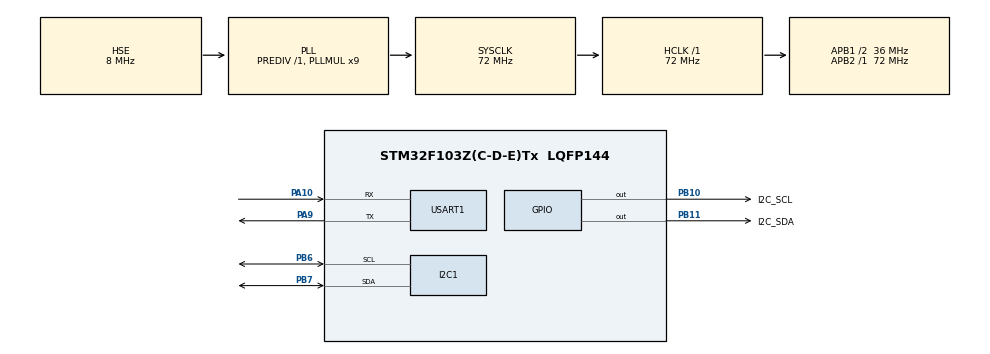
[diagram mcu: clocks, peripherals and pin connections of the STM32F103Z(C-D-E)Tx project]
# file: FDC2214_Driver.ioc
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I2C1.I2C_Mode=I2C_Fast
Mcu.Family=STM32F1
Mcu.Name=STM32F103Z(C-D-E)Tx
Mcu.Package=LQFP144
NVIC.PriorityGroup=NVIC_PRIORITYGROUP_2
NVIC.TIM2_IRQn=true\:0\:0\:false\:false\:true\:true
OSC_IN.Mode=HSE-External-Oscillator
OSC_IN.Signal=RCC_OSC_IN
OSC_OUT.Mode=HSE-External-Oscillator
OSC_OUT.Signal=RCC_OSC_OUT
PA10.Mode=Asynchronous
PA10.Signal=USART1_RX
PA13.Mode=JTAG_4_pins
PA13.Signal=SYS_JTMS-SWDIO
PA14.Mode=JTAG_4_pins
PA14.Signal=SYS_JTCK-SWCLK
PA15.Mode=JTAG_4_pins
PA15.Signal=SYS_JTDI
PA9.Mode=Asynchronous
PA9.Signal=USART1_TX
PB10.GPIO_Label=I2C_SCL
PB10.GPIO_ModeDefaultOutputPP=GPIO_MODE_OUTPUT_PP
PB10.GPIO_Speed=GPIO_SPEED_FREQ_HIGH
PB10.Signal=GPIO_Output
PB11.GPIO_Label=I2C_SDA
PB11.GPIO_ModeDefaultOutputPP=GPIO_MODE_OUTPUT_PP
PB11.GPIO_Speed=GPIO_SPEED_FREQ_HIGH
PB11.Signal=GPIO_Output
PB3.Mode=JTAG_4_pins
PB3.Signal=SYS_JTDO-TRACESWO
PB6.Mode=I2C
PB6.Signal=I2C1_SCL
PB7.Mode=I2C
PB7.Signal=I2C1_SDA
ProjectManager.HeapSize=0x200
ProjectManager.StackSize=0x400
ProjectManager.TargetToolchain=MDK-ARM V5
RCC.AHBFreq_Value=72000000
RCC.APB1CLKDivider=RCC_HCLK_DIV2
RCC.APB1Freq_Value=36000000
RCC.APB1TimFreq_Value=72000000
RCC.APB2Freq_Value=72000000
RCC.APB2TimFreq_Value=72000000
RCC.HCLKFreq_Value=72000000
RCC.PLLMUL=RCC_PLL_MUL9
RCC.PLLSourceVirtual=RCC_PLLSOURCE_HSE
RCC.SYSCLKFreq_VALUE=72000000
RCC.SYSCLKSource=RCC_SYSCLKSOURCE_PLLCLK
RCC.USBFreq_Value=72000000
TIM2.Period=100
TIM2.Prescaler=7199
USART1.VirtualMode=VM_ASYNC
VP_TIM2_VS_ClockSourceINT.Mode=Internal
board=custom

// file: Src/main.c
/**
  ******************************************************************************
  * @file           : main.c
  * @brief          : Main program body
  ******************************************************************************
  ** This notice applies to any and all portions of this file
  * that are not between comment pairs USER CODE BEGIN and
  * USER CODE END. Other portions of this file, whether
  * inserted by the user or by software development tools
  * are owned by their respective copyright owners.
  *
  * COPYRIGHT(c) 2018 STMicroelectronics
  *
  * Redistribution and use in source and binary forms, with or without modification,
  * are permitted provided that the following conditions are met:
  *   1. Redistributions of source code must retain the above copyright notice,
  *      this list of conditions and the following disclaimer.
  *   2. Redistributions in binary form must reproduce the above copyright notice,
  *      this list of conditions and the following disclaimer in the documentation
  *      and/or other materials provided with the distribution.
  *   3. Neither the name of STMicroelectronics nor the names of its contributors
  *      may be used to endorse or promote products derived from this software
  *      without specific prior written permission.
  *
  * THIS SOFTWARE IS PROVIDED BY THE COPYRIGHT HOLDERS AND CONTRIBUTORS "AS IS"
  * AND ANY EXPRESS OR IMPLIED WARRANTIES, INCLUDING, BUT NOT LIMITED TO, THE
  * IMPLIED WARRANTIES OF MERCHANTABILITY AND FITNESS FOR A PARTICULAR PURPOSE ARE
  * DISCLAIMED. IN NO EVENT SHALL THE COPYRIGHT HOLDER OR CONTRIBUTORS BE LIABLE
  * FOR ANY DIRECT, INDIRECT, INCIDENTAL, SPECIAL, EXEMPLARY, OR CONSEQUENTIAL
  * DAMAGES (INCLUDING, BUT NOT LIMITED TO, PROCUREMENT OF SUBSTITUTE GOODS OR
  * SERVICES; LOSS OF USE, DATA, OR PROFITS; OR BUSINESS INTERRUPTION) HOWEVER
  * CAUSED AND ON ANY THEORY OF LIABILITY, WHETHER IN CONTRACT, STRICT LIABILITY,
  * OR TORT (INCLUDING NEGLIGENCE OR OTHERWISE) ARISING IN ANY WAY OUT OF THE USE
  * OF THIS SOFTWARE, EVEN IF ADVISED OF THE POSSIBILITY OF SUCH DAMAGE.
  *
  ******************************************************************************
  */
#include "main.h"
#include "stm32f1xx_hal.h"

/* USER CODE BEGIN Includes */
 /*!
  * @file       main.c
  * @brief      FDC2214测试代码 STM32 软件IIC
  * @author     数据羊电�?
  * @version    v1.0
  * @date       2018-07-08
  * @note       代码严禁转卖！去年前年都有发现转卖本店代码和设计的情况，
  *             做点兼职不容易，望大家多多支持！
  *
					+--------------------------------------------+
					|                                            |
					|                                            |
					|         SCL +------------------> PB10      |
					|                                            |
					| FDC2214                              STM32 |
					|         SDA +------------------> PB11      |
					|                                            |
					|                                            |
					|         3.3 +------------------> 3.3       |
					|                                            |
					|                                            |
					|          SD +------------------> GND       |
					|																						 |
					|																					   |
					|         GND +------------------> GND       |
					|                                            |
					+--------------------------------------------+
					程序基于
					硬件	STM32F103ZET6
					软件  HAL库，STM32CubeMX生成
					使用软件IIC，FDC2214文件有详细注释�??

					自己焊的芯片如果读不出数据：
					请检查：
					1、SCL SDA是否接反
					2、SD是否接地
					3、芯片地�?是否选择�?0x2A（根据硬件短接�?�择�?
					4、检查晶振是否起振，示波器观察是否有40m Hz稳定正弦信号

					其他问题可以在群内留�?.
  */
/*
  FDC2214 STM32驱动例程
  软件IIC使用 P10 -> SCL  PB11-> SDA   寄存器操作，可修改IO�?

*/

#include "FDC2214.h"
#include "MyIIC.h"
#include "string.h"
#if 1
#pragma import(__use_no_semihosting)
//Standard library required support function
struct __FILE
{
	int handle;
};

FILE __stdout;
// define _sys_exit()
void _sys_exit(int x)
{
	x = x;
}
//redifine fputc()
int fputc(int ch, FILE *f)
{
	while((USART1->SR&0X40)==0);//Loop send
	USART1->DR = (unsigned char ) ch;
	return ch;
}
#endif
/* USER CODE END Includes */

I2C_HandleTypeDef hi2c1;

TIM_HandleTypeDef htim2;

UART_HandleTypeDef huart1;

/* USER CODE BEGIN PV */
/* Private variables ---------------------------------------------------------*/

/* USER CODE END PV */

void SystemClock_Config(void);
static void MX_GPIO_Init(void);
static void MX_USART1_UART_Init(void);
static void MX_I2C1_Init(void);
static void MX_TIM2_Init(void);

/* USER CODE BEGIN PFP */
/* Private function prototypes -----------------------------------------------*/
unsigned char string[] = "OK";
unsigned char buf[3];
uint32_t date0, date1, date2, date3;
uint16_t deviceID1 = 0;
static double KalmanFilter(const double ResrcData,double ProcessNiose_Q,double MeasureNoise_R);
double CH1_Value = 0;
/* USER CODE END PFP */

int main(void)
{
  /* USER CODE BEGIN 1 */
	uint16_t data;

  /* USER CODE END 1 */

  /* MCU Configuration----------------------------------------------------------*/

  /* Reset of all peripherals, Initializes the Flash interface and the Systick. */
  HAL_Init();

  /* Configure the system clock */
  SystemClock_Config();

  /* Initialize all configured peripherals */
  MX_GPIO_Init();
  MX_USART1_UART_Init();
  MX_I2C1_Init();
  MX_TIM2_Init();
  /* USER CODE BEGIN 2 */
	HAL_TIM_Base_Start_IT(&htim2);
	FDC2214_Init();

  /* USER CODE END 2 */

  /* Infinite loop */
  while (1)
  {

  /* USER CODE BEGIN 3 */
			FDC2214_GetChannelData(FDC2214_Channel_0, &date0);   //获取各个通道数据
			FDC2214_GetChannelData(FDC2214_Channel_1, &date1);
			FDC2214_GetChannelData(FDC2214_Channel_2, &date2);
			FDC2214_GetChannelData(FDC2214_Channel_3, &date3);

			HAL_Delay(10);

  }
  /* USER CODE END 3 */

}

void SystemClock_Config(void)
{

  RCC_OscInitTypeDef RCC_OscInitStruct;
  RCC_ClkInitTypeDef RCC_ClkInitStruct;

    /**Initializes the CPU, AHB and APB busses clocks
    */
  RCC_OscInitStruct.OscillatorType = RCC_OSCILLATORTYPE_HSE;
  RCC_OscInitStruct.HSEState = RCC_HSE_ON;
  RCC_OscInitStruct.HSEPredivValue = RCC_HSE_PREDIV_DIV1;
  RCC_OscInitStruct.HSIState = RCC_HSI_ON;
  RCC_OscInitStruct.PLL.PLLState = RCC_PLL_ON;
  RCC_OscInitStruct.PLL.PLLSource = RCC_PLLSOURCE_HSE;
  RCC_OscInitStruct.PLL.PLLMUL = RCC_PLL_MUL9;
  if (HAL_RCC_OscConfig(&RCC_OscInitStruct) != HAL_OK)
  {
    _Error_Handler(__FILE__, __LINE__);
  }

    /**Initializes the CPU, AHB and APB busses clocks
    */
  RCC_ClkInitStruct.ClockType = RCC_CLOCKTYPE_HCLK|RCC_CLOCKTYPE_SYSCLK
                              |RCC_CLOCKTYPE_PCLK1|RCC_CLOCKTYPE_PCLK2;
  RCC_ClkInitStruct.SYSCLKSource = RCC_SYSCLKSOURCE_PLLCLK;
  RCC_ClkInitStruct.AHBCLKDivider = RCC_SYSCLK_DIV1;
  RCC_ClkInitStruct.APB1CLKDivider = RCC_HCLK_DIV2;
  RCC_ClkInitStruct.APB2CLKDivider = RCC_HCLK_DIV1;

  if (HAL_RCC_ClockConfig(&RCC_ClkInitStruct, FLASH_LATENCY_2) != HAL_OK)
  {
    _Error_Handler(__FILE__, __LINE__);
  }

    /**Configure the Systick interrupt time
    */
  HAL_SYSTICK_Config(HAL_RCC_GetHCLKFreq()/1000);

    /**Configure the Systick
    */
  HAL_SYSTICK_CLKSourceConfig(SYSTICK_CLKSOURCE_HCLK);

  /* SysTick_IRQn interrupt configuration */
  HAL_NVIC_SetPriority(SysTick_IRQn, 0, 0);
}

/* I2C1 init function */
static void MX_I2C1_Init(void)
{

  hi2c1.Instance = I2C1;
  hi2c1.Init.ClockSpeed = 400000;
  hi2c1.Init.DutyCycle = I2C_DUTYCYCLE_2;
  hi2c1.Init.OwnAddress1 = 0;
  hi2c1.Init.AddressingMode = I2C_ADDRESSINGMODE_7BIT;
  hi2c1.Init.DualAddressMode = I2C_DUALADDRESS_DISABLE;
  hi2c1.Init.OwnAddress2 = 0;
  hi2c1.Init.GeneralCallMode = I2C_GENERALCALL_DISABLE;
  hi2c1.Init.NoStretchMode = I2C_NOSTRETCH_DISABLE;
  if (HAL_I2C_Init(&hi2c1) != HAL_OK)
  {
    _Error_Handler(__FILE__, __LINE__);
  }

}

/* TIM2 init function */
static void MX_TIM2_Init(void)
{

  TIM_ClockConfigTypeDef sClockSourceConfig;
  TIM_MasterConfigTypeDef sMasterConfig;

  htim2.Instance = TIM2;
  htim2.Init.Prescaler = 7199;
  htim2.Init.CounterMode = TIM_COUNTERMODE_UP;
  htim2.Init.Period = 100;
  htim2.Init.ClockDivision = TIM_CLOCKDIVISION_DIV1;
  htim2.Init.AutoReloadPreload = TIM_AUTORELOAD_PRELOAD_DISABLE;
  if (HAL_TIM_Base_Init(&htim2) != HAL_OK)
  {
    _Error_Handler(__FILE__, __LINE__);
  }

  sClockSourceConfig.ClockSource = TIM_CLOCKSOURCE_INTERNAL;
  if (HAL_TIM_ConfigClockSource(&htim2, &sClockSourceConfig) != HAL_OK)
  {
    _Error_Handler(__FILE__, __LINE__);
  }

  sMasterConfig.MasterOutputTrigger = TIM_TRGO_RESET;
  sMasterConfig.MasterSlaveMode = TIM_MASTERSLAVEMODE_DISABLE;
  if (HAL_TIMEx_MasterConfigSynchronization(&htim2, &sMasterConfig) != HAL_OK)
  {
    _Error_Handler(__FILE__, __LINE__);
  }

}

/* USART1 init function */
static void MX_USART1_UART_Init(void)
{

  huart1.Instance = USART1;
  huart1.Init.BaudRate = 115200;
  huart1.Init.WordLength = UART_WORDLENGTH_8B;
  huart1.Init.StopBits = UART_STOPBITS_1;
  huart1.Init.Parity = UART_PARITY_NONE;
  huart1.Init.Mode = UART_MODE_TX_RX;
  huart1.Init.HwFlowCtl = UART_HWCONTROL_NONE;
  huart1.Init.OverSampling = UART_OVERSAMPLING_16;
  if (HAL_UART_Init(&huart1) != HAL_OK)
  {
    _Error_Handler(__FILE__, __LINE__);
  }

}

/** Configure pins as
        * Analog
        * Input
        * Output
        * EVENT_OUT
        * EXTI
*/
static void MX_GPIO_Init(void)
{

  GPIO_InitTypeDef GPIO_InitStruct;

  /* GPIO Ports Clock Enable */
  __HAL_RCC_GPIOB_CLK_ENABLE();
  __HAL_RCC_GPIOA_CLK_ENABLE();

  /*Configure GPIO pin Output Level */
  HAL_GPIO_WritePin(GPIOB, I2C_SCL_Pin|I2C_SDA_Pin, GPIO_PIN_RESET);

  /*Configure GPIO pins : I2C_SCL_Pin I2C_SDA_Pin */
  GPIO_InitStruct.Pin = I2C_SCL_Pin|I2C_SDA_Pin;
  GPIO_InitStruct.Mode = GPIO_MODE_OUTPUT_PP;
  GPIO_InitStruct.Pull = GPIO_NOPULL;
  GPIO_InitStruct.Speed = GPIO_SPEED_FREQ_HIGH;
  HAL_GPIO_Init(GPIOB, &GPIO_InitStruct);

}

/* USER CODE BEGIN 4 */
void HAL_TIM_PeriodElapsedCallback(TIM_HandleTypeDef *htim)
{
  if(htim == &htim2)
	{
		CH1_Value = KalmanFilter((double)date1,0.05,5);
		printf("%d,%d,%d,%d\n",(uint32_t)CH1_Value,date1,date2,date3);

		//HAL_GPIO_TogglePin(GPIOB,GPIO_PIN_4);
	}
}

static double KalmanFilter(const double ResrcData,double ProcessNiose_Q,double MeasureNoise_R)
{

    double R = MeasureNoise_R;
    double Q = ProcessNiose_Q;

    static double x_last;
    double x_mid = x_last;
    double x_now;

    static double p_last;
    double p_mid ;
    double p_now;

    double kg;

    x_mid=x_last;                       //x_last=x(k-1|k-1),x_mid=x(k|k-1)
    p_mid=p_last+Q;                     //p_mid=p(k|k-1),p_last=p(k-1|k-1),Q=����

    /*
     *  �������˲��������Ҫ��ʽ
     */
    kg=p_mid/(p_mid+R);                 //kgΪkalman filter��R Ϊ����
    x_now=x_mid+kg*(ResrcData-x_mid);   //���Ƴ�������ֵ
    p_now=(1-kg)*p_mid;                 //����ֵ��Ӧ��covariance
    p_last = p_now;                     //����covariance ֵ
    x_last = x_now;                     //����ϵͳ״ֵ̬

    return x_now;

}

/* USER CODE END 4 */

void _Error_Handler(char *file, int line)
{
  while(1)
  {
  }
}

/************************ (C) COPYRIGHT STMicroelectronics *****END OF FILE****/
